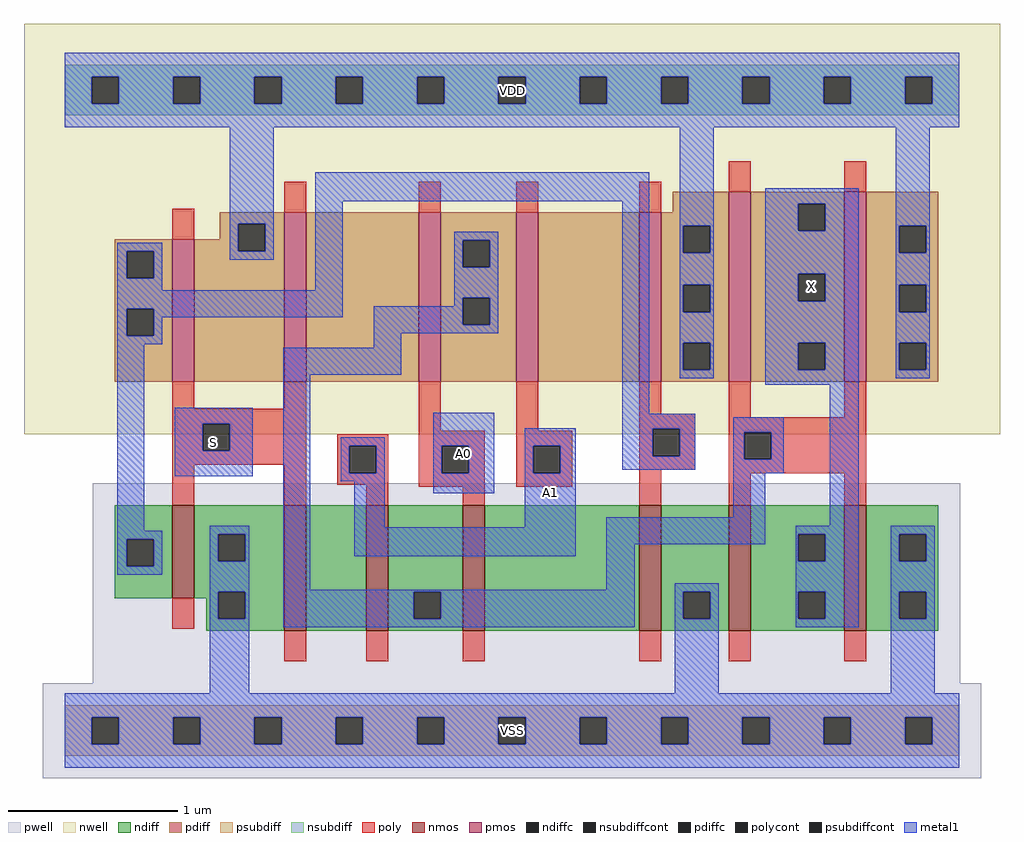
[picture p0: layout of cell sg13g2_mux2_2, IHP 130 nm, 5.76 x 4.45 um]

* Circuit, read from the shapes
.subckt sg13g2_mux2_2 A1 X S VDD VSS A0
XM1 VSS S n1 VSS sg13_lv_nmos w=0.55u l=0.13u
XM2 n2 S VSS VSS sg13_lv_nmos w=0.74u l=0.13u
XM3 n3 A1 n2 VSS sg13_lv_nmos w=0.74u l=0.13u
XM4 n4 A0 n3 VSS sg13_lv_nmos w=0.74u l=0.13u
XM5 VSS n1 n4 VSS sg13_lv_nmos w=0.74u l=0.13u
XM6 X n3 VSS VSS sg13_lv_nmos w=0.74u l=0.13u m=2
XM7 VDD S n1 VDD sg13_lv_pmos w=0.84u l=0.13u
XM8 n5 S VDD VDD sg13_lv_pmos w=1u l=0.13u
XM9 n3 A0 n5 VDD sg13_lv_pmos w=1u l=0.13u
XM10 n6 A1 n3 VDD sg13_lv_pmos w=1u l=0.13u
XM11 VDD n1 n6 VDD sg13_lv_pmos w=1u l=0.13u
XM12 X n3 VDD VDD sg13_lv_pmos w=1.12u l=0.13u m=2
.ends

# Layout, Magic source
magic
tech ihp-sg13g2
magscale 1 2
<< nwell >>
rect -48 350 1104 834
<< pwell >>
rect 33 56 1057 292
rect -26 -56 1082 56
<< nmos >>
rect 127 156 153 266
rect 259 118 285 266
rect 356 118 382 266
rect 470 118 496 266
rect 678 118 704 266
rect 784 118 810 266
rect 920 118 946 266
<< pmos >>
rect 127 412 153 580
rect 259 412 285 612
rect 418 412 444 612
rect 533 412 559 612
rect 678 412 704 612
rect 784 412 810 636
rect 920 412 946 636
<< ndiff >>
rect 59 226 127 266
rect 59 194 73 226
rect 105 194 127 226
rect 59 156 127 194
rect 153 232 259 266
rect 153 200 181 232
rect 213 200 259 232
rect 153 164 259 200
rect 153 156 181 164
rect 167 132 181 156
rect 213 132 259 164
rect 167 118 259 132
rect 285 118 356 266
rect 382 164 470 266
rect 382 132 412 164
rect 444 132 470 164
rect 382 118 470 132
rect 496 118 678 266
rect 704 164 784 266
rect 704 132 730 164
rect 762 132 784 164
rect 704 118 784 132
rect 810 232 920 266
rect 810 200 866 232
rect 898 200 920 232
rect 810 164 920 200
rect 810 132 866 164
rect 898 132 920 164
rect 810 118 920 132
rect 946 232 1031 266
rect 946 200 985 232
rect 1017 200 1031 232
rect 946 164 1031 200
rect 946 132 985 164
rect 1017 132 1031 164
rect 946 118 1031 132
<< pdiff >>
rect 718 612 784 636
rect 183 598 259 612
rect 183 580 205 598
rect 59 566 127 580
rect 59 534 73 566
rect 105 534 127 566
rect 59 498 127 534
rect 59 466 73 498
rect 105 466 127 498
rect 59 412 127 466
rect 153 566 205 580
rect 237 566 259 598
rect 153 412 259 566
rect 285 412 418 612
rect 444 579 533 612
rect 444 547 470 579
rect 502 547 533 579
rect 444 511 533 547
rect 444 479 470 511
rect 502 479 533 511
rect 444 412 533 479
rect 559 412 678 612
rect 704 596 784 612
rect 704 564 730 596
rect 762 564 784 596
rect 704 526 784 564
rect 704 494 730 526
rect 762 494 784 526
rect 704 458 784 494
rect 704 426 730 458
rect 762 426 784 458
rect 704 412 784 426
rect 810 622 920 636
rect 810 590 866 622
rect 898 590 920 622
rect 810 539 920 590
rect 810 507 866 539
rect 898 507 920 539
rect 810 458 920 507
rect 810 426 866 458
rect 898 426 920 458
rect 810 412 920 426
rect 946 596 1031 636
rect 946 564 985 596
rect 1017 564 1031 596
rect 946 526 1031 564
rect 946 494 985 526
rect 1017 494 1031 526
rect 946 458 1031 494
rect 946 426 985 458
rect 1017 426 1031 458
rect 946 412 1031 426
<< ndiffc >>
rect 73 194 105 226
rect 181 200 213 232
rect 181 132 213 164
rect 412 132 444 164
rect 730 132 762 164
rect 866 200 898 232
rect 866 132 898 164
rect 985 200 1017 232
rect 985 132 1017 164
<< pdiffc >>
rect 73 534 105 566
rect 73 466 105 498
rect 205 566 237 598
rect 470 547 502 579
rect 470 479 502 511
rect 730 564 762 596
rect 730 494 762 526
rect 730 426 762 458
rect 866 590 898 622
rect 866 507 898 539
rect 866 426 898 458
rect 985 564 1017 596
rect 985 494 1017 526
rect 985 426 1017 458
<< psubdiff >>
rect 0 16 1056 30
rect 0 -16 32 16
rect 64 -16 128 16
rect 160 -16 224 16
rect 256 -16 320 16
rect 352 -16 416 16
rect 448 -16 512 16
rect 544 -16 608 16
rect 640 -16 704 16
rect 736 -16 800 16
rect 832 -16 896 16
rect 928 -16 992 16
rect 1024 -16 1056 16
rect 0 -30 1056 -16
<< nsubdiff >>
rect 0 772 1056 786
rect 0 740 32 772
rect 64 740 128 772
rect 160 740 224 772
rect 256 740 320 772
rect 352 740 416 772
rect 448 740 512 772
rect 544 740 608 772
rect 640 740 704 772
rect 736 740 800 772
rect 832 740 896 772
rect 928 740 992 772
rect 1024 740 1056 772
rect 0 726 1056 740
<< psubdiffcont >>
rect 32 -16 64 16
rect 128 -16 160 16
rect 224 -16 256 16
rect 320 -16 352 16
rect 416 -16 448 16
rect 512 -16 544 16
rect 608 -16 640 16
rect 704 -16 736 16
rect 800 -16 832 16
rect 896 -16 928 16
rect 992 -16 1024 16
<< nsubdiffcont >>
rect 32 740 64 772
rect 128 740 160 772
rect 224 740 256 772
rect 320 740 352 772
rect 416 740 448 772
rect 512 740 544 772
rect 608 740 640 772
rect 704 740 736 772
rect 800 740 832 772
rect 896 740 928 772
rect 992 740 1024 772
<< poly >>
rect 127 580 153 616
rect 259 612 285 648
rect 418 612 444 648
rect 533 612 559 648
rect 678 612 704 648
rect 784 636 810 672
rect 920 636 946 672
rect 127 380 153 412
rect 259 380 285 412
rect 127 362 285 380
rect 127 330 163 362
rect 195 330 285 362
rect 418 354 444 412
rect 533 354 559 412
rect 678 374 704 412
rect 678 356 744 374
rect 127 314 285 330
rect 127 266 153 314
rect 259 266 285 314
rect 322 336 382 350
rect 322 304 336 336
rect 368 304 382 336
rect 322 290 382 304
rect 356 266 382 290
rect 418 336 496 354
rect 418 304 445 336
rect 477 304 496 336
rect 418 288 496 304
rect 533 336 599 354
rect 533 304 553 336
rect 585 304 599 336
rect 533 288 599 304
rect 678 324 694 356
rect 726 324 744 356
rect 678 308 744 324
rect 784 370 810 412
rect 920 370 946 412
rect 784 352 946 370
rect 784 320 802 352
rect 834 320 946 352
rect 470 266 496 288
rect 678 266 704 308
rect 784 304 946 320
rect 784 266 810 304
rect 920 266 946 304
rect 127 120 153 156
rect 259 82 285 118
rect 356 82 382 118
rect 470 82 496 118
rect 678 82 704 118
rect 784 82 810 118
rect 920 82 946 118
<< polycont >>
rect 163 330 195 362
rect 336 304 368 336
rect 445 304 477 336
rect 553 304 585 336
rect 694 324 726 356
rect 802 320 834 352
<< metal1 >>
rect 0 772 1056 800
rect 0 740 32 772
rect 64 740 128 772
rect 160 740 224 772
rect 256 740 320 772
rect 352 740 416 772
rect 448 740 512 772
rect 544 740 608 772
rect 640 740 704 772
rect 736 740 800 772
rect 832 740 896 772
rect 928 740 992 772
rect 1024 740 1056 772
rect 0 712 1056 740
rect 195 598 247 712
rect 62 566 115 576
rect 62 534 73 566
rect 105 534 115 566
rect 195 566 205 598
rect 237 566 247 598
rect 195 556 247 566
rect 296 625 690 659
rect 62 520 115 534
rect 296 520 328 625
rect 62 498 328 520
rect 460 579 512 589
rect 460 547 470 579
rect 502 547 512 579
rect 460 511 512 547
rect 460 501 470 511
rect 62 466 73 498
rect 105 488 328 498
rect 105 466 115 488
rect 62 456 115 466
rect 365 479 470 501
rect 502 479 512 511
rect 365 469 512 479
rect 62 236 94 456
rect 365 452 397 469
rect 258 420 397 452
rect 130 362 222 381
rect 130 330 163 362
rect 195 330 222 362
rect 130 300 222 330
rect 62 226 115 236
rect 62 194 73 226
rect 105 194 115 226
rect 62 184 115 194
rect 171 232 218 242
rect 171 200 181 232
rect 213 200 218 232
rect 171 164 218 200
rect 171 132 181 164
rect 213 132 218 164
rect 171 44 218 132
rect 258 166 290 420
rect 326 336 378 346
rect 326 304 336 336
rect 368 304 378 336
rect 326 294 378 304
rect 342 240 378 294
rect 435 336 507 375
rect 658 374 690 625
rect 726 596 766 712
rect 726 564 730 596
rect 762 564 766 596
rect 726 526 766 564
rect 726 494 730 526
rect 762 494 766 526
rect 726 458 766 494
rect 726 426 730 458
rect 762 426 766 458
rect 726 416 766 426
rect 827 622 937 640
rect 827 590 866 622
rect 898 590 937 622
rect 827 539 937 590
rect 827 507 866 539
rect 898 507 937 539
rect 827 458 937 507
rect 827 426 866 458
rect 898 426 937 458
rect 827 408 937 426
rect 981 596 1021 712
rect 981 564 985 596
rect 1017 564 1021 596
rect 981 526 1021 564
rect 981 494 985 526
rect 1017 494 1021 526
rect 981 458 1021 494
rect 981 426 985 458
rect 1017 426 1021 458
rect 981 416 1021 426
rect 435 304 445 336
rect 477 304 507 336
rect 435 280 507 304
rect 543 336 603 357
rect 543 304 553 336
rect 585 304 603 336
rect 658 356 744 374
rect 658 324 694 356
rect 726 324 744 356
rect 658 308 744 324
rect 789 352 849 370
rect 789 320 802 352
rect 834 320 849 352
rect 543 240 603 304
rect 789 304 849 320
rect 789 252 827 304
rect 342 206 603 240
rect 639 220 827 252
rect 903 242 937 408
rect 863 232 937 242
rect 639 166 673 220
rect 863 200 866 232
rect 898 200 937 232
rect 258 164 673 166
rect 258 132 412 164
rect 444 132 673 164
rect 258 122 673 132
rect 720 164 772 174
rect 720 132 730 164
rect 762 132 772 164
rect 720 44 772 132
rect 863 164 937 200
rect 863 132 866 164
rect 898 132 937 164
rect 863 122 937 132
rect 975 232 1027 242
rect 975 200 985 232
rect 1017 200 1027 232
rect 975 164 1027 200
rect 975 132 985 164
rect 1017 132 1027 164
rect 975 44 1027 132
rect 0 16 1056 44
rect 0 -16 32 16
rect 64 -16 128 16
rect 160 -16 224 16
rect 256 -16 320 16
rect 352 -16 416 16
rect 448 -16 512 16
rect 544 -16 608 16
rect 640 -16 704 16
rect 736 -16 800 16
rect 832 -16 896 16
rect 928 -16 992 16
rect 1024 -16 1056 16
rect 0 -44 1056 -16
<< labels >>
flabel metal1 s 543 206 603 357 0 FreeSans 400 0 0 0 A1
port 2 nsew
flabel metal1 s 827 408 937 640 0 FreeSans 400 0 0 0 X
port 3 nsew
flabel metal1 s 130 300 222 381 0 FreeSans 400 0 0 0 S
port 4 nsew
flabel metal1 s 0 712 1056 800 0 FreeSans 400 0 0 0 VDD
port 5 nsew
flabel metal1 s 0 -44 1056 44 0 FreeSans 400 0 0 0 VSS
port 6 nsew
flabel metal1 s 435 280 507 375 0 FreeSans 400 0 0 0 A0
port 7 nsew
<< properties >>
string FIXED_BBOX 0 0 1056 756
<< end >>
